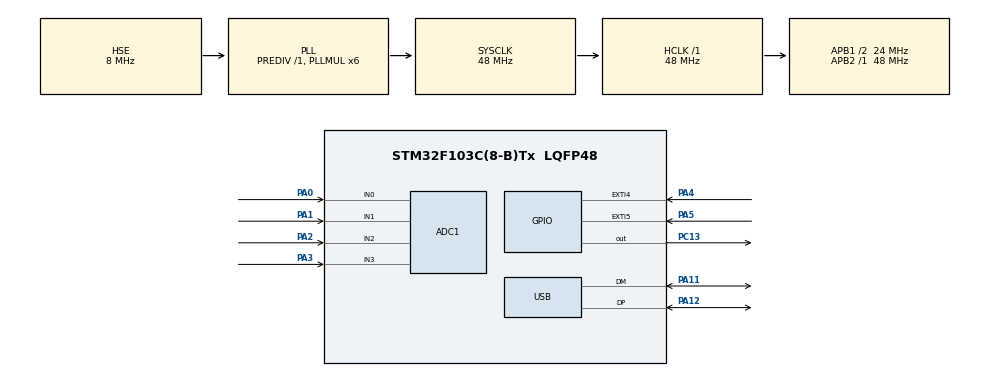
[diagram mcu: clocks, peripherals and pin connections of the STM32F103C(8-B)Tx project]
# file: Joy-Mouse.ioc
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ADC1.Channel-0\#ChannelRegularConversion=ADC_CHANNEL_0
ADC1.Channel-1\#ChannelRegularConversion=ADC_CHANNEL_1
ADC1.Channel-2\#ChannelRegularConversion=ADC_CHANNEL_2
ADC1.Channel-3\#ChannelRegularConversion=ADC_CHANNEL_3
ADC1.ContinuousConvMode=ENABLE
ADC1.NbrOfConversion=4
ADC1.NbrOfConversionFlag=1
ADC1.Rank-0\#ChannelRegularConversion=1
ADC1.Rank-1\#ChannelRegularConversion=2
ADC1.Rank-2\#ChannelRegularConversion=3
ADC1.Rank-3\#ChannelRegularConversion=4
ADC1.SamplingTime-0\#ChannelRegularConversion=ADC_SAMPLETIME_239CYCLES_5
ADC1.SamplingTime-1\#ChannelRegularConversion=ADC_SAMPLETIME_239CYCLES_5
ADC1.SamplingTime-2\#ChannelRegularConversion=ADC_SAMPLETIME_239CYCLES_5
ADC1.SamplingTime-3\#ChannelRegularConversion=ADC_SAMPLETIME_239CYCLES_5
ADC1.master=1
Dma.ADC1.0.Direction=DMA_PERIPH_TO_MEMORY
Dma.ADC1.0.Instance=DMA1_Channel1
Dma.ADC1.0.MemDataAlignment=DMA_MDATAALIGN_WORD
Dma.ADC1.0.MemInc=DMA_MINC_ENABLE
Dma.ADC1.0.Mode=DMA_CIRCULAR
Dma.ADC1.0.PeriphDataAlignment=DMA_PDATAALIGN_WORD
Dma.ADC1.0.PeriphInc=DMA_PINC_DISABLE
Dma.ADC1.0.Priority=DMA_PRIORITY_LOW
Dma.Request0=ADC1
Mcu.Family=STM32F1
Mcu.Name=STM32F103C(8-B)Tx
Mcu.Package=LQFP48
NVIC.DMA1_Channel1_IRQn=true\:0\:0\:false\:false\:true\:false\:true
NVIC.EXTI4_IRQn=true\:0\:0\:false\:false\:true\:true\:true
NVIC.EXTI9_5_IRQn=true\:0\:0\:false\:false\:true\:true\:true
NVIC.PriorityGroup=NVIC_PRIORITYGROUP_4
NVIC.USB_LP_CAN1_RX0_IRQn=true\:0\:0\:false\:false\:true\:false\:true
PA0-WKUP.Signal=ADCx_IN0
PA1.Signal=ADCx_IN1
PA11.Mode=Device
PA11.Signal=USB_DM
PA12.Mode=Device
PA12.Signal=USB_DP
PA13.Mode=Serial_Wire
PA13.Signal=SYS_JTMS-SWDIO
PA14.Mode=Serial_Wire
PA14.Signal=SYS_JTCK-SWCLK
PA2.Signal=ADCx_IN2
PA3.Signal=ADCx_IN3
PA4.GPIO_ModeDefaultEXTI=GPIO_MODE_IT_RISING
PA4.Signal=GPXTI4
PA5.GPIO_ModeDefaultEXTI=GPIO_MODE_IT_RISING
PA5.Signal=GPXTI5
PC13-TAMPER-RTC.PinState=GPIO_PIN_SET
PC13-TAMPER-RTC.Signal=GPIO_Output
PD0-OSC_IN.Mode=HSE-External-Oscillator
PD0-OSC_IN.Signal=RCC_OSC_IN
PD1-OSC_OUT.Mode=HSE-External-Oscillator
PD1-OSC_OUT.Signal=RCC_OSC_OUT
ProjectManager.HeapSize=0x200
ProjectManager.StackSize=0x400
ProjectManager.TargetToolchain=STM32CubeIDE
RCC.ADCPresc=RCC_ADCPCLK2_DIV4
RCC.AHBFreq_Value=48000000
RCC.APB1CLKDivider=RCC_HCLK_DIV2
RCC.APB1Freq_Value=24000000
RCC.APB1TimFreq_Value=48000000
RCC.APB2Freq_Value=48000000
RCC.APB2TimFreq_Value=48000000
RCC.HCLKFreq_Value=48000000
RCC.PLLMUL=RCC_PLL_MUL6
RCC.SYSCLKFreq_VALUE=48000000
RCC.SYSCLKSource=RCC_SYSCLKSOURCE_PLLCLK
RCC.USBFreq_Value=48000000
SH.ADCx_IN0.0=ADC1_IN0,IN0
SH.ADCx_IN1.0=ADC1_IN1,IN1
SH.ADCx_IN2.0=ADC1_IN2,IN2
SH.ADCx_IN3.0=ADC1_IN3,IN3
USB_DEVICE.CLASS_NAME_FS=HID
USB_DEVICE.MANUFACTURER_STRING=Sashkoiv
USB_DEVICE.PRODUCT_STRING_HID_FS=Joystic-Mouse
USB_DEVICE.VirtualMode=Hid
USB_DEVICE.VirtualModeFS=Hid_FS
VP_USB_DEVICE_VS_USB_DEVICE_HID_FS.Mode=HID_FS
board=custom

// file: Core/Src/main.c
/* USER CODE BEGIN Header */
/**
  ******************************************************************************
  * @file           : main.c
  * @brief          : Main program body
  ******************************************************************************
  * @attention
  *
  * <h2><center>&copy; Copyright (c) 2021 STMicroelectronics.
  * All rights reserved.</center></h2>
  *
  * This software component is licensed by ST under BSD 3-Clause license,
  * the "License"; You may not use this file except in compliance with the
  * License. You may obtain a copy of the License at:
  *                        opensource.org/licenses/BSD-3-Clause
  *
  ******************************************************************************
  */
/* USER CODE END Header */

#include "main.h"
#include "usb_device.h"

ADC_HandleTypeDef hadc1;
DMA_HandleTypeDef hdma_adc1;

void SystemClock_Config(void);
static void MX_GPIO_Init(void);
static void MX_DMA_Init(void);
static void MX_ADC1_Init(void);

/* USER CODE BEGIN 0 */

uint32_t value[4];		// ADC values are read into here

int8_t button_flag = 0;

extern USBD_HandleTypeDef hUsbDeviceFS;

typedef struct
{
  uint8_t button;
  int8_t mouse_x;
  int8_t mouse_y;
  int8_t wheel;
} mouseHID;

mouseHID mousehid = {0,0,0,0};

int16_t x, y;
int16_t error_x, error_y;

void HAL_GPIO_EXTI_Callback(uint16_t GPIO_Pin)
{
  if (GPIO_Pin == GPIO_PIN_4)
  {
    button_flag = 2;
  }
  if (GPIO_Pin == GPIO_PIN_5)
  {
    button_flag = 1;
  }
}

/* USER CODE END 0 */

int main(void)
{

  /* MCU Configuration--------------------------------------------------------*/

  /* Reset of all peripherals, Initializes the Flash interface and the Systick. */
  HAL_Init();

  /* Configure the system clock */
  SystemClock_Config();

  /* Initialize all configured peripherals */
  MX_GPIO_Init();
  MX_DMA_Init();
  MX_USB_DEVICE_Init();
  MX_ADC1_Init();
  /* USER CODE BEGIN 2 */
  HAL_ADC_Start_DMA(&hadc1, value, 4);

  /* USER CODE END 2 */

  /* Infinite loop */
  while (1)
  {

    /* USER CODE BEGIN 3 */
	    x = (int8_t)(value[1]/16-128)+1;
	    y = (int8_t)(value[0]/16-128)+4;

	    mousehid.mouse_x = x/8;
		mousehid.mouse_y = y/8;

	  if (button_flag==1)
	     {
	      mousehid.button = 1;
	      USBD_HID_SendReport(&hUsbDeviceFS, &mousehid, sizeof (mousehid));
	      HAL_Delay (50);
	      mousehid.button = 0;

	      USBD_HID_SendReport(&hUsbDeviceFS,&mousehid, sizeof (mousehid));
	      button_flag =0;
	     }
	  if (button_flag==2)
	     {
	      mousehid.button = 2;
	      USBD_HID_SendReport(&hUsbDeviceFS, &mousehid, sizeof (mousehid));
	      HAL_Delay (50);
	      mousehid.button = 0;

	      USBD_HID_SendReport(&hUsbDeviceFS,&mousehid, sizeof (mousehid));
	      button_flag =0;
	     }

	    USBD_HID_SendReport(&hUsbDeviceFS,&mousehid, sizeof (mousehid));

	      HAL_Delay(10);
  }
  /* USER CODE END 3 */
}

void SystemClock_Config(void)
{
  RCC_OscInitTypeDef RCC_OscInitStruct = {0};
  RCC_ClkInitTypeDef RCC_ClkInitStruct = {0};
  RCC_PeriphCLKInitTypeDef PeriphClkInit = {0};

  /** Initializes the CPU, AHB and APB busses clocks
  */
  RCC_OscInitStruct.OscillatorType = RCC_OSCILLATORTYPE_HSE;
  RCC_OscInitStruct.HSEState = RCC_HSE_ON;
  RCC_OscInitStruct.HSEPredivValue = RCC_HSE_PREDIV_DIV1;
  RCC_OscInitStruct.HSIState = RCC_HSI_ON;
  RCC_OscInitStruct.PLL.PLLState = RCC_PLL_ON;
  RCC_OscInitStruct.PLL.PLLSource = RCC_PLLSOURCE_HSE;
  RCC_OscInitStruct.PLL.PLLMUL = RCC_PLL_MUL6;
  if (HAL_RCC_OscConfig(&RCC_OscInitStruct) != HAL_OK)
  {
    Error_Handler();
  }
  /** Initializes the CPU, AHB and APB busses clocks
  */
  RCC_ClkInitStruct.ClockType = RCC_CLOCKTYPE_HCLK|RCC_CLOCKTYPE_SYSCLK
                              |RCC_CLOCKTYPE_PCLK1|RCC_CLOCKTYPE_PCLK2;
  RCC_ClkInitStruct.SYSCLKSource = RCC_SYSCLKSOURCE_PLLCLK;
  RCC_ClkInitStruct.AHBCLKDivider = RCC_SYSCLK_DIV1;
  RCC_ClkInitStruct.APB1CLKDivider = RCC_HCLK_DIV2;
  RCC_ClkInitStruct.APB2CLKDivider = RCC_HCLK_DIV1;

  if (HAL_RCC_ClockConfig(&RCC_ClkInitStruct, FLASH_LATENCY_1) != HAL_OK)
  {
    Error_Handler();
  }
  PeriphClkInit.PeriphClockSelection = RCC_PERIPHCLK_ADC|RCC_PERIPHCLK_USB;
  PeriphClkInit.AdcClockSelection = RCC_ADCPCLK2_DIV4;
  PeriphClkInit.UsbClockSelection = RCC_USBCLKSOURCE_PLL;
  if (HAL_RCCEx_PeriphCLKConfig(&PeriphClkInit) != HAL_OK)
  {
    Error_Handler();
  }
}

static void MX_ADC1_Init(void)
{

  ADC_ChannelConfTypeDef sConfig = {0};

  /** Common config
  */
  hadc1.Instance = ADC1;
  hadc1.Init.ScanConvMode = ADC_SCAN_ENABLE;
  hadc1.Init.ContinuousConvMode = ENABLE;
  hadc1.Init.DiscontinuousConvMode = DISABLE;
  hadc1.Init.ExternalTrigConv = ADC_SOFTWARE_START;
  hadc1.Init.DataAlign = ADC_DATAALIGN_RIGHT;
  hadc1.Init.NbrOfConversion = 4;
  if (HAL_ADC_Init(&hadc1) != HAL_OK)
  {
    Error_Handler();
  }
  /** Configure Regular Channel
  */
  sConfig.Channel = ADC_CHANNEL_0;
  sConfig.Rank = ADC_REGULAR_RANK_1;
  sConfig.SamplingTime = ADC_SAMPLETIME_239CYCLES_5;
  if (HAL_ADC_ConfigChannel(&hadc1, &sConfig) != HAL_OK)
  {
    Error_Handler();
  }
  /** Configure Regular Channel
  */
  sConfig.Channel = ADC_CHANNEL_1;
  sConfig.Rank = ADC_REGULAR_RANK_2;
  if (HAL_ADC_ConfigChannel(&hadc1, &sConfig) != HAL_OK)
  {
    Error_Handler();
  }
  /** Configure Regular Channel
  */
  sConfig.Channel = ADC_CHANNEL_2;
  sConfig.Rank = ADC_REGULAR_RANK_3;
  if (HAL_ADC_ConfigChannel(&hadc1, &sConfig) != HAL_OK)
  {
    Error_Handler();
  }
  /** Configure Regular Channel
  */
  sConfig.Channel = ADC_CHANNEL_3;
  sConfig.Rank = ADC_REGULAR_RANK_4;
  if (HAL_ADC_ConfigChannel(&hadc1, &sConfig) != HAL_OK)
  {
    Error_Handler();
  }

}

static void MX_DMA_Init(void)
{

  /* DMA controller clock enable */
  __HAL_RCC_DMA1_CLK_ENABLE();

  /* DMA interrupt init */
  /* DMA1_Channel1_IRQn interrupt configuration */
  HAL_NVIC_SetPriority(DMA1_Channel1_IRQn, 0, 0);
  HAL_NVIC_EnableIRQ(DMA1_Channel1_IRQn);

}

static void MX_GPIO_Init(void)
{
  GPIO_InitTypeDef GPIO_InitStruct = {0};

  /* GPIO Ports Clock Enable */
  __HAL_RCC_GPIOC_CLK_ENABLE();
  __HAL_RCC_GPIOD_CLK_ENABLE();
  __HAL_RCC_GPIOA_CLK_ENABLE();

  /*Configure GPIO pin Output Level */
  HAL_GPIO_WritePin(GPIOC, GPIO_PIN_13, GPIO_PIN_SET);

  /*Configure GPIO pin : PC13 */
  GPIO_InitStruct.Pin = GPIO_PIN_13;
  GPIO_InitStruct.Mode = GPIO_MODE_OUTPUT_PP;
  GPIO_InitStruct.Pull = GPIO_NOPULL;
  GPIO_InitStruct.Speed = GPIO_SPEED_FREQ_LOW;
  HAL_GPIO_Init(GPIOC, &GPIO_InitStruct);

  /*Configure GPIO pins : PA4 PA5 */
  GPIO_InitStruct.Pin = GPIO_PIN_4|GPIO_PIN_5;
  GPIO_InitStruct.Mode = GPIO_MODE_IT_RISING;
  GPIO_InitStruct.Pull = GPIO_NOPULL;
  HAL_GPIO_Init(GPIOA, &GPIO_InitStruct);

  /* EXTI interrupt init*/
  HAL_NVIC_SetPriority(EXTI4_IRQn, 0, 0);
  HAL_NVIC_EnableIRQ(EXTI4_IRQn);

  HAL_NVIC_SetPriority(EXTI9_5_IRQn, 0, 0);
  HAL_NVIC_EnableIRQ(EXTI9_5_IRQn);

}

void Error_Handler(void)
{
}

/************************ (C) COPYRIGHT STMicroelectronics *****END OF FILE****/
